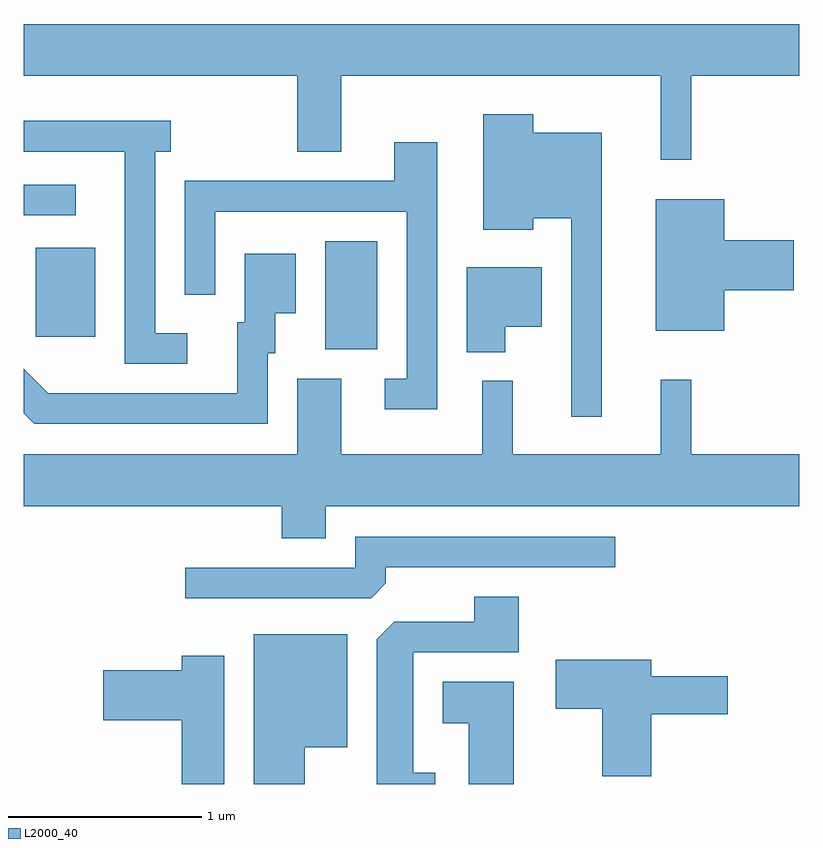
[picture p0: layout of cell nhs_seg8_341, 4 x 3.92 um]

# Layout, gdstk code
import gdstk
lib = gdstk.Library(unit=1e-6, precision=1e-09)
def R(c, l, rs):  # rectangles x0, y0, x1, y1
    for r in rs: c.add(gdstk.rectangle(r[:2], r[2:], *l))
def P(c, l, *ps):  # polygons
    for p in ps: c.add(gdstk.Polygon(p, *l))
L2000_40 = (2000, 40)

nhs_seg8_341 = lib.new_cell('nhs_seg8_341')
R(nhs_seg8_341, L2000_40, [(197.166,1810.586,197.434,1811.144), (195.671,1810.651,195.979,1811.109), (195.611,1811.276,195.878,1811.434)])
P(nhs_seg8_341, L2000_40, [(199.054,1811.996),(199.611,1811.996),(199.611,1812.264),(195.611,1812.264),(195.611,1811.996),(197.021,1811.996),(197.021,1811.606),(197.249,1811.606),(197.249,1811.996),(198.896,1811.996),(198.896,1811.563),(199.054,1811.563)],
  [(198.594,1811.704),(198.239,1811.704),(198.239,1811.799),(197.981,1811.799),(197.981,1811.201),(198.239,1811.201),(198.239,1811.261),(198.436,1811.261),(198.436,1810.238),(198.594,1810.238)],
  [(196.453,1810.669),(196.289,1810.669),(196.289,1811.606),(196.368,1811.606),(196.368,1811.764),(195.611,1811.764),(195.611,1811.606),(196.131,1811.606),(196.131,1810.511),(196.453,1810.511)],
  [(197.744,1811.654),(197.521,1811.654),(197.521,1811.454),(196.441,1811.454),(196.441,1810.868),(196.599,1810.868),(196.599,1811.296),(197.586,1811.296),(197.586,1810.434),(197.473,1810.434),(197.473,1810.276),(197.744,1810.276)],
  [(199.224,1810.891),(199.584,1810.891),(199.584,1811.149),(199.224,1811.149),(199.224,1811.359),(198.871,1811.359),(198.871,1810.681),(199.224,1810.681)],
  [(196.869,1810.566),(196.909,1810.566),(196.909,1810.771),(197.014,1810.771),(197.014,1811.079),(196.751,1811.079),(196.751,1810.724),(196.711,1810.724),(196.711,1810.359),(195.737,1810.359),(195.611,1810.485),(195.611,1810.254),(195.664,1810.201),(196.869,1810.201)],
  [(198.094,1810.701),(198.284,1810.701),(198.284,1811.009),(197.896,1811.009),(197.896,1810.571),(198.094,1810.571)],
  [(197.169,1809.776),(199.611,1809.776),(199.611,1810.044),(199.054,1810.044),(199.054,1810.428),(198.896,1810.428),(198.896,1810.044),(198.134,1810.044),(198.134,1810.423),(197.976,1810.423),(197.976,1810.044),(197.249,1810.044),(197.249,1810.434),(197.021,1810.434),(197.021,1810.044),(195.611,1810.044),(195.611,1809.776),(196.941,1809.776),(196.941,1809.611),(197.169,1809.611)],
  [(197.479,1809.377),(197.479,1809.461),(198.663,1809.461),(198.663,1809.619),(197.321,1809.619),(197.321,1809.459),(196.443,1809.459),(196.443,1809.301),(197.404,1809.301)],
  [(197.734,1808.399),(197.619,1808.399),(197.619,1809.021),(198.164,1809.021),(198.164,1809.309),(197.936,1809.309),(197.936,1809.179),(197.522,1809.179),(197.431,1809.089),(197.431,1808.342),(197.734,1808.342)],
  [(197.059,1808.531),(197.279,1808.531),(197.279,1809.114),(196.796,1809.114),(196.796,1808.342),(197.059,1808.342)],
  [(196.644,1809.004),(196.426,1809.004),(196.426,1808.929),(196.021,1808.929),(196.021,1808.671),(196.426,1808.671),(196.426,1808.342),(196.644,1808.342)],
  [(198.849,1808.701),(199.244,1808.701),(199.244,1808.899),(198.849,1808.899),(198.849,1808.984),(198.356,1808.984),(198.356,1808.731),(198.596,1808.731),(198.596,1808.381),(198.849,1808.381)],
  [(198.139,1808.869),(197.771,1808.869),(197.771,1808.656),(197.906,1808.656),(197.906,1808.342),(198.139,1808.342)])

lib.write_gds('nhs_seg8_341.gds')
